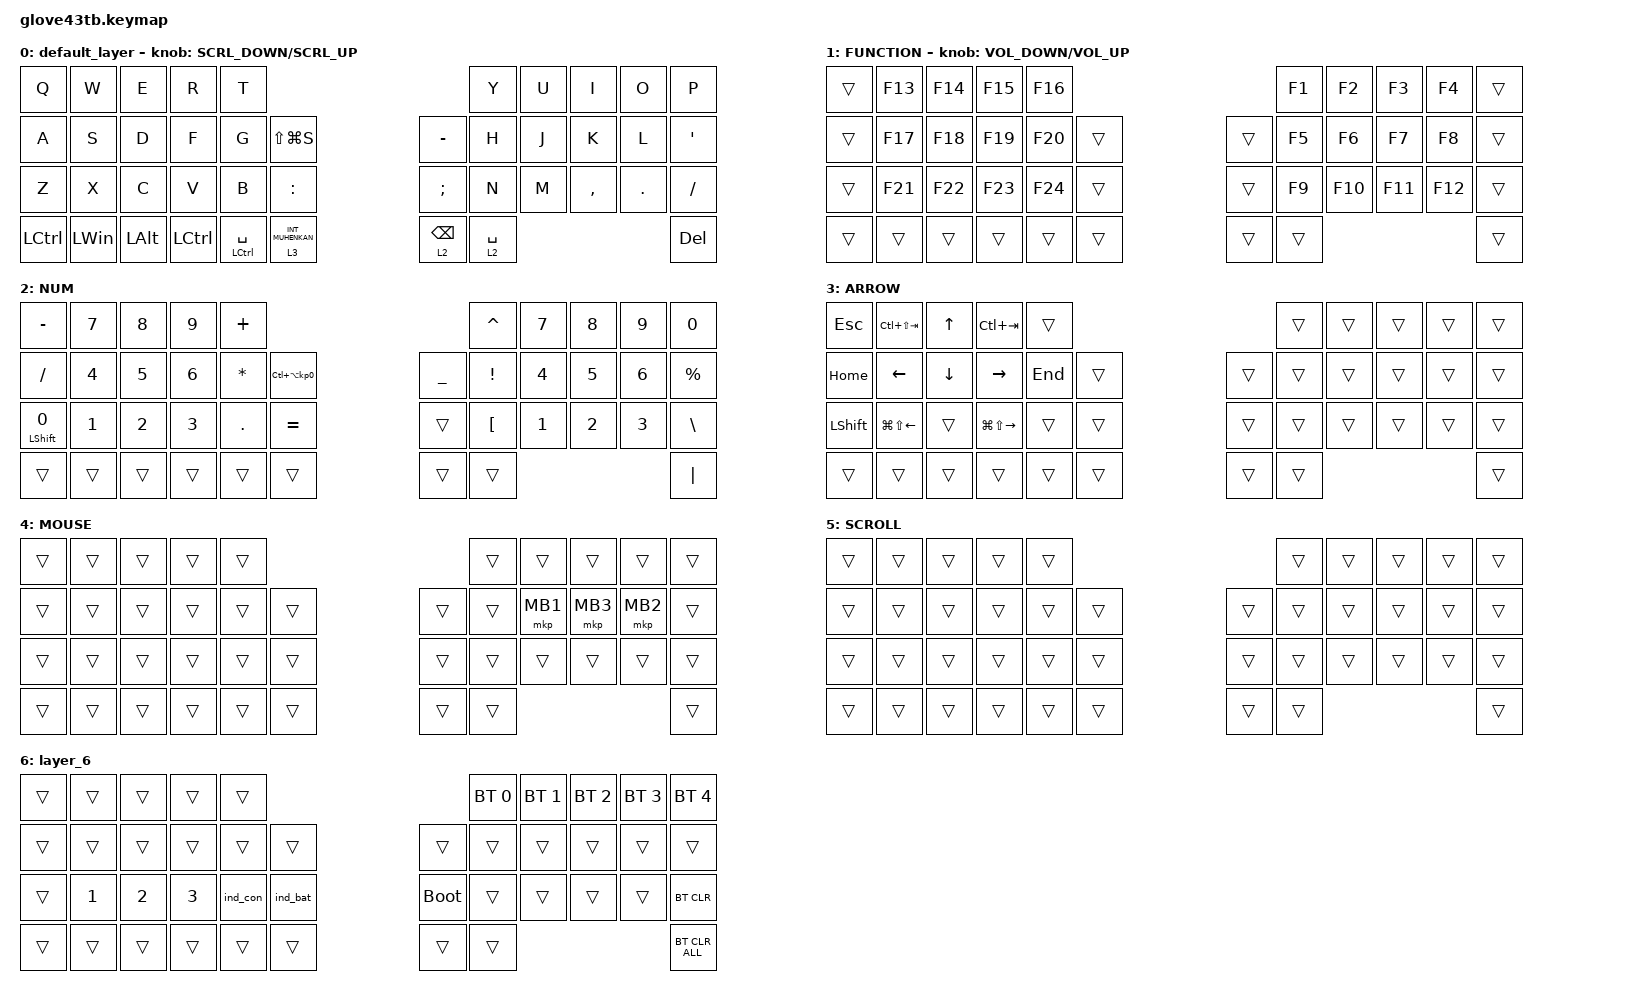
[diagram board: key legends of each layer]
#define ZMK_POINTING_DEFAULT_SCRL_VAL 150

#include <behaviors/rgbled_widget.dtsi>
#include <dt-bindings/zmk/input_transform.h>
#include <input/processors.dtsi>
#include <zephyr/dt-bindings/input/input-event-codes.h>
#include <behaviors.dtsi>
#include <dt-bindings/zmk/bt.h>
#include <dt-bindings/zmk/keys.h>
#include <dt-bindings/zmk/pointing.h>

&mt {
    flavor = "balanced";
    quick-tap-ms = <0>;
};

&mmv {
    delay-ms = <20>;
    trigger-period-ms = <5>;
    time-to-max-speed-ms = <100>;
    acceleration-exponent = <2>;
};

&msc {
    delay-ms = <3>;
    trigger-period-ms = <3>;
    time-to-max-speed-ms = <100>;
    acceleration-exponent = <0>;
};

/ {
    input_processors {
        zip_wheel_scaler: zip_wheel_scaler {
            compatible = "zmk,input-processor-scaler";
            #input-processor-cells = <2>;
            type = <INPUT_EV_REL>;
            codes = <INPUT_REL_WHEEL>;
            track-remainders;
        };
    };
};

/ {
    combos {
        compatible = "zmk,combos";

        tab {
            bindings = <&kp TAB>;
            key-positions = <1 2>;
        };

        esc {
            bindings = <&kp LS(ESCAPE)>;
            key-positions = <11 12>;
        };

        atab {
            bindings = <&kp LA(TAB)>;
            key-positions = <23 24>;
        };

        osl1 {
            bindings = <&mo 1>;
            key-positions = <11 12 13>;
        };

        bs {
            bindings = <&kp BACKSPACE>;
            key-positions = <7 8>;
        };

        ret {
            bindings = <&kp RET>;
            key-positions = <19 20>;
        };

        osl1dup {
            bindings = <&mo 1>;
            key-positions = <18 19 20>;
        };
    };

    macros {
        to_layer_0: to_layer_0 {
            compatible = "zmk,behavior-macro-one-param";
            #binding-cells = <1>;
            bindings = <&to 0 &macro_param_1to1 &kp MACRO_PLACEHOLDER>;
            label = "TO_LAYER_0";
        };
    };

    behaviors {
        lt_to_layer_0: lt_to_layer_0 {
            compatible = "zmk,behavior-hold-tap";
            label = "LAYER_TAP_TO_0";
            bindings = <&mo>, <&to_layer_0>;

            #binding-cells = <2>;
            tapping-term-ms = <200>;
        };

        sensor_rotate_kp: sensor_rotate_kp {
            compatible = "zmk,behavior-sensor-rotate-var";
            #sensor-binding-cells = <2>;
            bindings = <&kp>, <&kp>;
        };

        mouse_wheel_scroll: mouse_wheel_scroll {
            compatible = "zmk,behavior-sensor-rotate-var";
            #sensor-binding-cells = <2>;
            bindings = <&msc>, <&msc>;

            tap-ms = <20>;
        };
    };

    keymap {
        compatible = "zmk,keymap";

        default_layer {
            bindings = <
&kp Q      &kp W         &kp E         &kp R      &kp T                                                                           &kp Y        &kp U  &kp I      &kp O    &kp P
&kp A      &kp S         &kp D         &kp F      &kp G            &kp LS(LG(S))                      &kp MINUS                   &kp H        &kp J  &kp K      &kp L    &kp SQT
&kp Z      &kp X         &kp C         &kp V      &kp B            &kp COLON                          &kp SEMICOLON               &kp N        &kp M  &kp COMMA  &kp DOT  &kp SLASH
&kp LCTRL  &kp LEFT_WIN  &kp LEFT_ALT  &kp LCTRL  &mt LCTRL SPACE  &lt_to_layer_0 3 INT_MUHENKAN      &lt_to_layer_0 2 BACKSPACE  &lt 2 SPACE                             &kp DEL
            >;

            sensor-bindings = <&mouse_wheel_scroll SCRL_DOWN SCRL_UP>;
        };

        FUNCTION {
            bindings = <
&trans  &kp F13  &kp F14  &kp F15  &kp F16                      &kp F1  &kp F2   &kp F3   &kp F4   &trans
&trans  &kp F17  &kp F18  &kp F19  &kp F20  &trans      &trans  &kp F5  &kp F6   &kp F7   &kp F8   &trans
&trans  &kp F21  &kp F22  &kp F23  &kp F24  &trans      &trans  &kp F9  &kp F10  &kp F11  &kp F12  &trans
&trans  &trans   &trans   &trans   &trans   &trans      &trans  &trans                             &trans
            >;

            sensor-bindings = <&sensor_rotate_kp C_VOLUME_DOWN C_VOLUME_UP>;
        };

        NUM {
            bindings = <
&kp MINUS                &kp NUMBER_7  &kp NUMBER_8  &kp NUMBER_9  &kp PLUS                                                   &kp CARET         &kp NUMBER_7  &kp NUMBER_8  &kp NUMBER_9  &kp NUMBER_0
&kp SLASH                &kp NUMBER_4  &kp NUMBER_5  &kp NUMBER_6  &kp ASTERISK  &kp LC(LA(KP_NUMBER_0))      &kp UNDERSCORE  &kp EXCLAMATION   &kp NUMBER_4  &kp NUMBER_5  &kp NUMBER_6  &kp PERCENT
&mt LEFT_SHIFT NUMBER_0  &kp NUMBER_1  &kp NUMBER_2  &kp NUMBER_3  &kp PERIOD    &kp EQUAL                    &trans          &kp LEFT_BRACKET  &kp NUMBER_1  &kp NUMBER_2  &kp NUMBER_3  &kp BACKSLASH
&trans                   &trans        &trans        &trans        &trans        &trans                       &trans          &trans                                                      &kp PIPE
            >;
        };

        ARROW {
            bindings = <
&kp ESCAPE      &kp LC(LS(TAB))         &kp UP_ARROW    &kp LC(TAB)              &trans                       &trans  &trans  &trans  &trans  &trans
&kp HOME        &kp LEFT_ARROW          &kp DOWN_ARROW  &kp RIGHT_ARROW          &kp END  &trans      &trans  &trans  &trans  &trans  &trans  &trans
&kp LEFT_SHIFT  &kp LG(LS(LEFT_ARROW))  &trans          &kp LG(LS(RIGHT_ARROW))  &trans   &trans      &trans  &trans  &trans  &trans  &trans  &trans
&trans          &trans                  &trans          &trans                   &trans   &trans      &trans  &trans                          &trans
            >;
        };

        MOUSE {
            bindings = <
&trans  &trans  &trans  &trans  &trans                      &trans  &trans    &trans    &trans    &trans
&trans  &trans  &trans  &trans  &trans  &trans      &trans  &trans  &mkp MB1  &mkp MB3  &mkp MB2  &trans
&trans  &trans  &trans  &trans  &trans  &trans      &trans  &trans  &trans    &trans    &trans    &trans
&trans  &trans  &trans  &trans  &trans  &trans      &trans  &trans                                &trans
            >;
        };

        SCROLL {
            bindings = <
&trans  &trans  &trans  &trans  &trans                      &trans  &trans  &trans  &trans  &trans
&trans  &trans  &trans  &trans  &trans  &trans      &trans  &trans  &trans  &trans  &trans  &trans
&trans  &trans  &trans  &trans  &trans  &trans      &trans  &trans  &trans  &trans  &trans  &trans
&trans  &trans  &trans  &trans  &trans  &trans      &trans  &trans                          &trans
            >;
        };

        layer_6 {
            bindings = <
&trans  &trans        &trans        &trans        &trans                               &bt BT_SEL 0  &bt BT_SEL 1  &bt BT_SEL 2  &bt BT_SEL 3  &bt BT_SEL 4
&trans  &trans        &trans        &trans        &trans    &trans        &trans       &trans        &trans        &trans        &trans        &trans
&trans  &kp NUMBER_1  &kp NUMBER_2  &kp NUMBER_3  &ind_con  &ind_bat  &bootloader  &trans        &trans        &trans        &trans        &bt BT_CLR
&trans  &trans        &trans        &trans        &trans    &trans        &trans       &trans                                                  &bt BT_CLR_ALL
            >;
        };
    };
};
